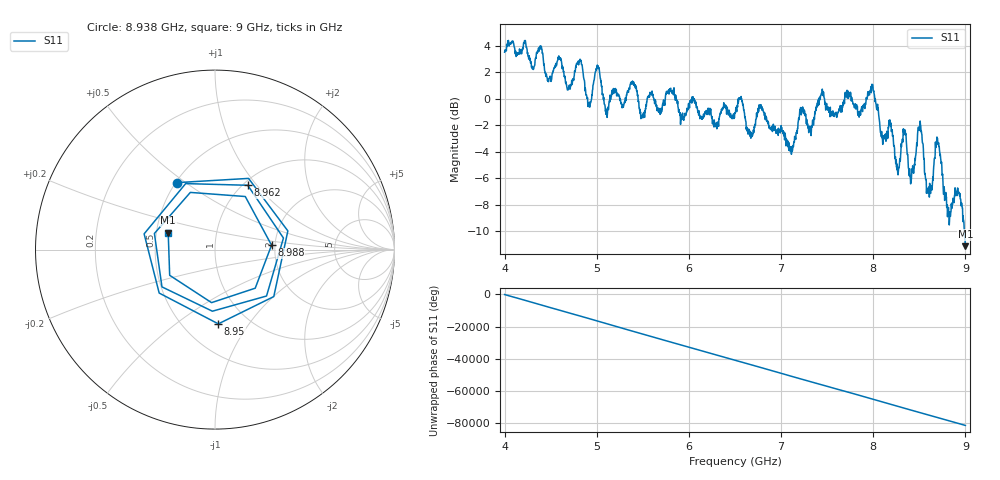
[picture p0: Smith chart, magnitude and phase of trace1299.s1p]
! Created with skrf 1.8.0 (http://scikit-rf.org).
# Hz S RI R 50.0
!freq ReS11 ImS11
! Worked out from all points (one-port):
!   1601 points, 4 GHz to 9 GHz, reference 50 ohm
!   lowest |S11| = -11.1 dB at 9 GHz (marker M1), VSWR 1.77, Z = 28.9 + j5.9 ohm
!   |S11| at or under -10 dB: 8.987955 GHz to end of sweep
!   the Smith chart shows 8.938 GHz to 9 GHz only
!   S11 on the Smith chart (normalised r, x): 8.938 GHz: 0.51, +0.46; 8.95 GHz: 0.73, -0.73; 8.962 GHz: 1.05, +0.90; 8.988 GHz: 1.92, +0.10; 9 GHz: 0.58, +0.12
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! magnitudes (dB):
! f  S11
! 4 GHz  3.5
! 4.625 GHz  2.3
! 4.7 GHz  1.0
! 4.822 GHz  2.9
! 4.919 GHz  -0.3
! 5.006 GHz  2.6
! 5.103 GHz  -1.0
! 5.25 GHz  -0.1
! 5.875 GHz  -0.4
! 6.5 GHz  -1.0
! 7.125 GHz  -3.8
! 7.225 GHz  -0.8
! 7.312 GHz  -2.1
! 7.75 GHz  0.2
! 7.988 GHz  1.1
! 8.259 GHz  -5.4
! 8.334 GHz  -2.7
! 8.375 GHz  -4.2
! 8.425 GHz  -5.6
! 8.506 GHz  -2.3
! 8.603 GHz  -6.9
! 8.697 GHz  -3.0
! 8.819 GHz  -8.7
! 8.938 GHz  -7.4
! 8.95 GHz  -7.7
! 8.962 GHz  -7.9
! 8.988 GHz  -10.0
! 9 GHz  -11.1
